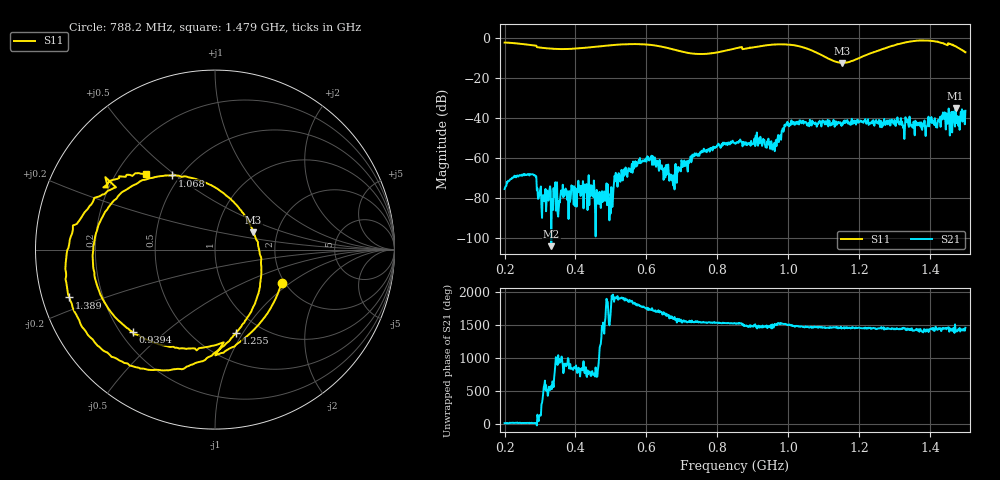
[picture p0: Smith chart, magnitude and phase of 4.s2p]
! NanoVNA-App
! Date: 2024-06-25 16:52:44
! Start: 200MHz Stop: 1.5GHz Points: 801
! S-Parameter data: F S11 S21 S12 S22
# Hz S RI R 50
!  Frequency  S11_Real  S11_Imag  S21_Real  S21_Imag  S12_Real  S12_Imag  S22_Real  S22_Imag
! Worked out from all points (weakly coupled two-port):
!   801 points, 200 MHz to 1.5 GHz, reference 50 ohm
!   highest |S21| = -35.17 dB at 1.472 GHz (marker M1); lowest = -104.0 dB at 331.6 MHz (marker M2)
!   lowest |S11| = -12.6 dB at 1.152 GHz (marker M3), VSWR 1.61, Z = 75.5 + j15.2 ohm
!   |S11| at or under -10 dB: 1.109 GHz to 1.202 GHz (92.51 MHz wide, 8.01 % of centre)
!   S12 and S22 are empty: the file has one direction only
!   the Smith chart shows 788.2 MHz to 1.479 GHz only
!   S11 on the Smith chart (normalised r, x): 788.2 MHz: 1.93, -0.86; 939.4 MHz: 0.25, -0.39; 1.068 GHz: 0.45, +0.48; 1.255 GHz: 0.77, -0.94; 1.389 GHz: 0.08, -0.16; 1.479 GHz: 0.32, +0.40
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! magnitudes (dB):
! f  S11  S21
! 200 MHz  -2.4  -75.5
! 278 MHz  -3.7  -68.1
! 300.8 MHz  -4.9  -75.4
! 331.6 MHz  -5.4  -104.0
! 417.8 MHz  -5.1  -78.1
! 499 MHz  -3.7  -87.7
! 516.9 MHz  -3.5  -68.5
! 575.4 MHz  -3.1  -62.7
! 633.9 MHz  -4.1  -64.5
! 672.9 MHz  -5.7  -68.7
! 788.2 MHz  -7.7  -54.4
! 850 MHz  -5.4  -52.6
! 939.4 MHz  -3.8  -54.9
! 996.2 MHz  -3.4  -42.7
! 1.068 GHz  -6.4  -41.4
! 1.152 GHz  -12.6  -42.7
! 1.255 GHz  -6.4  -42.9
! 1.284 GHz  -4.6  -42.2
! 1.389 GHz  -1.4  -44.3
! 1.472 GHz  -4.2  -35.2
! 1.479 GHz  -4.9  -39.9
! 1.5 GHz  -7.2  -36.4
